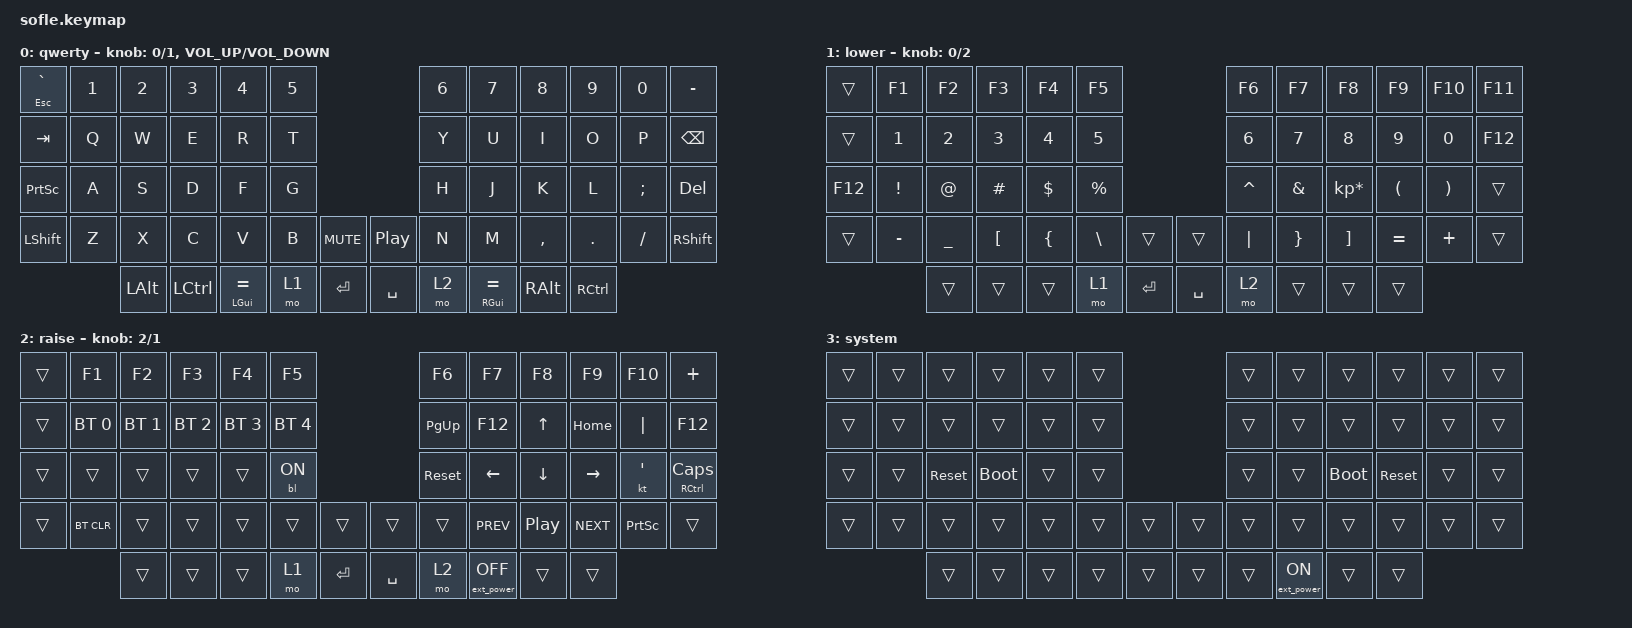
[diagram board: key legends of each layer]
/*
 * Copyright (c) 2020 The ZMK Contributors
 *
 * SPDX-License-Identifier: MIT
 */

&nice_view_spi { cs-gpios = <&pro_micro 0 GPIO_ACTIVE_HIGH>; };

#define BASE 0
#define LOWER 1
#define RAISE 2

#include <behaviors.dtsi>
#include <dt-bindings/zmk/backlight.h>
#include <dt-bindings/zmk/bt.h>
#include <dt-bindings/zmk/ext_power.h>
#include <dt-bindings/zmk/keys.h>
#include <dt-bindings/zmk/keys.h>

/ {
    behaviors {
        layer_rotate: layer_rotate {
            compatible = "zmk,behavior-sensor-rotate-var";
            label = "LAYER_ROTATE";
            #sensor-binding-cells = <2>;
            bindings = <&to>, <&to>;
        };
    };

    keymap {
        compatible = "zmk,keymap";

        default_layer {
            label = "qwerty";

            // ------------------------------------------------------------------------------------------------------------
            // |  `    |  1  |  2  |  3   |  4   |  5   |                   |  6   |  7    |  8    |  9   |   0   |   \   |
            // |  TAB  |  Q  |  W  |  E   |  R   |  T   |                   |  Y   |  U    |  I    |  O   |   P   | BKSPC |
            // | C/ESC |  A  |  S  |  D   |  F   |  G   |                   |  H   |  J    |  K    |  L   |   ;   |  C/'  |
            // | SHIFT |  Z  |  X  |  C   |  V   |  B   |  MUTE  |  | PLAY  |  N   |  M    |  ,    |  .   |   /   | SHIFT |
            //               | CAPS| ALT  | GUI/-| SPACE|LOWER/[ |  |RAISE/]| ENTER|  GUI/=|  ALT  | CTRL |

            bindings = <
&mt ESCAPE GRAVE  &kp N1  &kp N2        &kp N3     &kp N4          &kp N5                           &kp N6  &kp N7          &kp N8     &kp N9     &kp N0    &kp MINUS
&kp TAB           &kp Q   &kp W         &kp E      &kp R           &kp T                            &kp Y   &kp U           &kp I      &kp O      &kp P     &kp BSPC
&kp PRINTSCREEN   &kp A   &kp S         &kp D      &kp F           &kp G                            &kp H   &kp J           &kp K      &kp L      &kp SEMI  &kp DELETE
&kp LSHFT         &kp Z   &kp X         &kp C      &kp V           &kp B   &kp C_MUTE    &kp C_PP   &kp N   &kp M           &kp COMMA  &kp DOT    &kp FSLH  &kp RSHFT
                          &kp LEFT_ALT  &kp LCTRL  &mt LGUI EQUAL  &mo 1   &kp ENTER     &kp SPACE  &mo 2   &mt RGUI EQUAL  &kp RALT   &kp RCTRL
            >;

            sensor-bindings =
                <&layer_rotate 0 1>,
                <&inc_dec_kp C_VOLUME_UP K_VOLUME_DOWN>;
        };

        lower_layer {
            label = "lower";

            // ------------------------------------------------------------------------------------------------------------
            // |       |  F1 |  F2 |  F3  |  F4  |  F5  |                   |  F6  |  F7   |  F8   |  F9  |  F10  |  F11  |
            // |       |   1 |   2 |   3  |   4  |   5  |                   |   6  |   7   |   8   |   9  |    0  |  F12  |
            // |       |  !  |  @  |  #   |  $   |  %   |                   |  ^   |  &    |  *    |  (   |   )   |       |
            // |       |  -  |  _  |  [   |  {   |  \   |        |  |       |  |   |  }    |  ]    |  =   |   +   |       |
            //               |     |      |      |      |        |  |       |      |       |       |      |

            bindings = <
&trans   &kp F1     &kp F2     &kp F3    &kp F4    &kp F5                             &kp F6     &kp F7    &kp F8           &kp F9     &kp F10   &kp F11
&trans   &kp N1     &kp N2     &kp N3    &kp N4    &kp N5                             &kp N6     &kp N7    &kp N8           &kp N9     &kp N0    &kp F12
&kp F12  &kp EXCL   &kp AT     &kp HASH  &kp DLLR  &kp PRCNT                          &kp CARET  &kp AMPS  &kp KP_MULTIPLY  &kp LPAR   &kp RPAR  &trans
&trans   &kp MINUS  &kp UNDER  &kp LBKT  &kp LBRC  &kp BSLH   &trans       &trans     &kp PIPE   &kp RBRC  &kp RBKT         &kp EQUAL  &kp PLUS  &trans
                    &trans     &trans    &trans    &mo 1      &kp ENTER    &kp SPACE  &mo 2      &trans    &trans           &trans
            >;

            sensor-bindings = <&layer_rotate 0 2>;
        };

        raise_layer {
            label = "raise";

            // ------------------------------------------------------------------------------------------------------------
            // |     |  F1  |  F2  |  F3   |  F4   |  F5  |                |  F6  |  F7  |  F8   |  F9  |  F10  |  F11  |
            // |     | BT1  | BT2  |  BT3  |  BT4  |  BT5 |                | PGUP |  END |   ^   | HOME |  INS  |  F12  |
            // |     |      |      |       |       |      |                | PGDN |   <- |   v   | ->   |  DEL  | C/CAPS|
            // |     |BTCLR | HUD  | HUI   |  SAD  |  SAI |      |  |      | SCRL | PRVS | PLAY  | NEXT |  PSCR |       |
            //              |      |       |       |      |      |  |      |      |      |       |      |

            bindings = <
&trans  &kp F1        &kp F2        &kp F3        &kp F4        &kp F5                                &kp F6      &kp F7             &kp F8    &kp F9      &kp F10    &kp PLUS
&trans  &bt BT_SEL 0  &bt BT_SEL 1  &bt BT_SEL 2  &bt BT_SEL 3  &bt BT_SEL 4                          &kp PG_UP   &kp F12            &kp UP    &kp HOME    &kp PIPE   &kp F12
&trans  &trans        &trans        &trans        &trans        &bl BL_ON                             &sys_reset  &kp LEFT           &kp DOWN  &kp RIGHT   &kt SQT    &mt RCTRL CLCK
&trans  &bt BT_CLR    &trans        &trans        &trans        &trans        &trans       &trans     &trans      &kp C_PREV         &kp C_PP  &kp C_NEXT  &kp PSCRN  &trans
                      &trans        &trans        &trans        &mo 1         &kp ENTER    &kp SPACE  &mo 2       &ext_power EP_OFF  &trans    &trans
            >;

            sensor-bindings = <&layer_rotate 2 1>;
        };

        System {
            bindings = <
&trans  &trans  &trans      &trans       &trans  &trans                    &trans  &trans            &trans       &trans      &trans  &trans
&trans  &trans  &trans      &trans       &trans  &trans                    &trans  &trans            &trans       &trans      &trans  &trans
&trans  &trans  &sys_reset  &bootloader  &trans  &trans                    &trans  &trans            &bootloader  &sys_reset  &trans  &trans
&trans  &trans  &trans      &trans       &trans  &trans  &trans    &trans  &trans  &trans            &trans       &trans      &trans  &trans
                &trans      &trans       &trans  &trans  &trans    &trans  &trans  &ext_power EP_ON  &trans       &trans
            >;

            label = "system";
        };
    };
};
